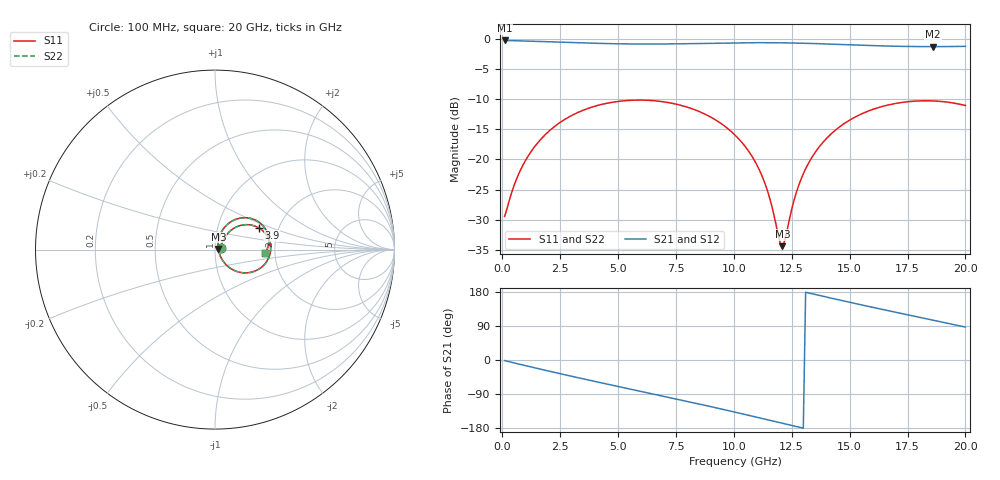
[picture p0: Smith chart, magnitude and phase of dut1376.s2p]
! Touchstone file exported from HFSS 2026.1.0
!  File:  C:/ffzhzh/LocalFiles/Ansys_Project_Files/temp_train_TSV_RDL_1376_1783347157_37376.aedt
!  Generated:  10:24:09 PM Jul  6, 2026
!  Design:  TSV_RDL
!  Project:  temp_train_TSV_RDL_1376_1783347157_37376
! Variables:
!  h_bsmrdl = 2.99um
!  h_ox = 20um
!  h_rdl = 5um
!  h_sub = 54.21um
!  h_tmrdl = 4.78um
!  h_tsv = 54.21um
!  h_via = 3um
!  l_bsmrdl = 673.35um
!  l_sub = 4662.48um
!  l_tmrdl = 541.67um
!  m_sub = 200um
!  pitch = 23.26um
!  r_tsv = 8.88um
!  s_tmrdl = 10um
!  w_bsmrdl = 15.06um
!  w_sub = 500um
!  w_tmrdl = 10.19um
!  x_tsv_center1 = 546.765um
!  x_tsv_center2 = 1235.175um
!  x_tsv_center3 = 1787.035um
!  x_tsv_center4 = 2475.445um
!  x_tsv_center5 = 3027.305um
!  x_tsv_center6 = 3715.715um
# GHz S MA R 50.000000
! Terminal data exported
! Port[1] = TM_RDL1_1_T1
! Port[2] = TM_RDL5_1_T1
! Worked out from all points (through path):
!   200 points, 100 MHz to 20 GHz, reference 50 ohm
!   highest |S21| = -0.28 dB at 100 MHz (marker M1); lowest = -1.3 dB at 18.6 GHz (marker M2)
!   group delay of S21, straight-line fit = 38 ps
!   lowest |S11| = -34.4 dB at 12.1 GHz (marker M3), VSWR 1.04, Z = 51.9 + j0.391 ohm
!   |S11| at or under -10 dB: start of sweep to end of sweep
!   |S22| runs from -34.5 to -10.2 dB; largest |S21 - S12| = 2.8e-14
!   S11 on the Smith chart (normalised r, x): 100 MHz: 1.07, +0.02; 3.9 GHz: 1.58, +0.41; 20 GHz: 1.77, -0.08
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0.1  0.03363 16.7  0.968 -1.6  0.968 -1.6  0.03363 16.7
! Gamma 0 0 0 0
! Port Impedance 50 0 50 0
0.7  0.07512 49.5  0.9603 -10.5  0.9603 -10.5  0.07512 49.5
1.4  0.1276 51.2  0.9524 -20.6  0.9524 -20.6  0.1276 51.2
2.3  0.1902 44.3  0.9405 -33.4  0.9405 -33.4  0.1902 44.3
3.5  0.2558 31.1  0.9237 -49.9  0.9237 -49.9  0.2559 31.1
3.9  0.2723 26.4  0.9187 -55.2  0.9187 -55.2  0.2723 26.4
5.3  0.3066 9.7  0.9063 -73.8  0.9063 -73.8  0.3066 9.6
6.8  0.303 -8.5  0.9043 -93.4  0.9043 -93.4  0.3031 -8.5
8.5  0.2494 -29.1  0.9137 -116.1  0.9137 -116.1  0.2495 -29.2
10.1  0.1557 -47.7  0.9249 -138.3  0.9249 -138.3  0.1557 -47.7
10.7  0.1123 -53.1  0.9272 -146.9  0.9272 -146.9  0.1123 -53.2
11.2  0.07423 -54.8  0.9278 -154.0  0.9278 -154.0  0.07425 -55.0
11.6  0.04395 -49.5  0.9273 -159.8  0.9273 -159.8  0.04394 -49.7
12  0.0203 -10.9  0.9257 -165.5  0.9257 -165.5  0.02019 -11.2
12.1  0.01908 11.4  0.9252 -166.9  0.9252 -166.9  0.01894 11.2
12.7  0.05327 68.8  0.9208 -175.6  0.9208 -175.6  0.05318 68.9
13.4  0.106 69.9  0.9134 174.5  0.9134 174.5  0.106 70.0
14  0.149 64.9  0.9055 166.1  0.9055 166.1  0.149 64.9
14.8  0.2001 56.4  0.8939 155.1  0.8939 155.1  0.2001 56.3
16.7  0.2835 34.3  0.8695 129.7  0.8695 129.7  0.2835 34.2
18.6  0.3053 12.1  0.8603 105.2  0.8603 105.2  0.3053 12.0
20  0.2798 -4.1  0.8653 86.9  0.8653 86.9  0.2798 -4.3
